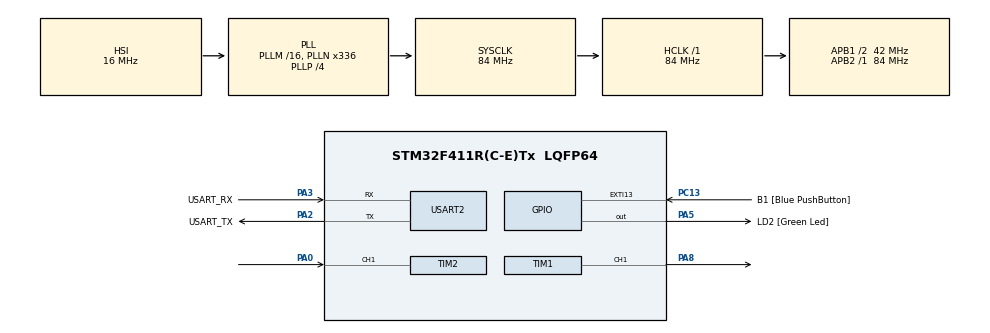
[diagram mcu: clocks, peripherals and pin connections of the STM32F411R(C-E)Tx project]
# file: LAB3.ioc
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Dma.Request0=TIM2_CH1
Dma.TIM2_CH1.0.Direction=DMA_PERIPH_TO_MEMORY
Dma.TIM2_CH1.0.FIFOMode=DMA_FIFOMODE_DISABLE
Dma.TIM2_CH1.0.Instance=DMA1_Stream5
Dma.TIM2_CH1.0.MemDataAlignment=DMA_MDATAALIGN_WORD
Dma.TIM2_CH1.0.MemInc=DMA_MINC_ENABLE
Dma.TIM2_CH1.0.Mode=DMA_CIRCULAR
Dma.TIM2_CH1.0.PeriphDataAlignment=DMA_PDATAALIGN_WORD
Dma.TIM2_CH1.0.PeriphInc=DMA_PINC_DISABLE
Dma.TIM2_CH1.0.Priority=DMA_PRIORITY_LOW
Mcu.Family=STM32F4
Mcu.Name=STM32F411R(C-E)Tx
Mcu.Package=LQFP64
NVIC.DMA1_Stream5_IRQn=true\:0\:0\:false\:false\:true\:false\:true\:true
NVIC.PriorityGroup=NVIC_PRIORITYGROUP_0
PA0-WKUP.Signal=S_TIM2_CH1_ETR
PA13.GPIO_Label=TMS
PA13.Mode=Serial_Wire
PA13.Signal=SYS_JTMS-SWDIO
PA14.GPIO_Label=TCK
PA14.Mode=Serial_Wire
PA14.Signal=SYS_JTCK-SWCLK
PA2.GPIO_Label=USART_TX
PA2.Mode=Asynchronous
PA2.Signal=USART2_TX
PA3.GPIO_Label=USART_RX
PA3.Mode=Asynchronous
PA3.Signal=USART2_RX
PA5.GPIO_Label=LD2 [Green Led]
PA5.Signal=GPIO_Output
PA8.Signal=S_TIM1_CH1
PB3.GPIO_Label=SWO
PB3.Signal=SYS_JTDO-SWO
PC13-ANTI_TAMP.GPIO_Label=B1 [Blue PushButton]
PC13-ANTI_TAMP.GPIO_ModeDefaultEXTI=GPIO_MODE_IT_FALLING
PC13-ANTI_TAMP.Signal=GPXTI13
PC14-OSC32_IN.Mode=LSE-External-Oscillator
PC14-OSC32_IN.Signal=RCC_OSC32_IN
PC15-OSC32_OUT.Mode=LSE-External-Oscillator
PC15-OSC32_OUT.Signal=RCC_OSC32_OUT
PH0\ -\ OSC_IN.Mode=HSE-External-Clock-Source
PH0\ -\ OSC_IN.Signal=RCC_OSC_IN
PH1\ -\ OSC_OUT.Mode=HSE-External-Clock-Source
PH1\ -\ OSC_OUT.Signal=RCC_OSC_OUT
ProjectManager.HeapSize=0x200
ProjectManager.StackSize=0x400
ProjectManager.TargetToolchain=STM32CubeIDE
RCC.48MHZClocksFreq_Value=84000000
RCC.AHBFreq_Value=84000000
RCC.APB1CLKDivider=RCC_HCLK_DIV2
RCC.APB1Freq_Value=42000000
RCC.APB1TimFreq_Value=84000000
RCC.APB2Freq_Value=84000000
RCC.APB2TimFreq_Value=84000000
RCC.CortexFreq_Value=84000000
RCC.FLatency-AdvancedSettings=FLASH_LATENCY_2
RCC.HCLKFreq_Value=84000000
RCC.HSE_VALUE=8000000
RCC.HSI_VALUE=16000000
RCC.PLLN=336
RCC.PLLP=RCC_PLLP_DIV4
RCC.SYSCLKFreq_VALUE=84000000
RCC.SYSCLKSource=RCC_SYSCLKSOURCE_PLLCLK
RCC.VCOOutputFreq_Value=336000000
SH.S_TIM1_CH1.0=TIM1_CH1,PWM Generation1 CH1
SH.S_TIM2_CH1_ETR.0=TIM2_CH1,Input_Capture1_from_TI1
TIM1.Channel-PWM\ Generation1\ CH1=TIM_CHANNEL_1
TIM1.Period=999
TIM1.Prescaler=83
TIM1.Pulse-PWM\ Generation1\ CH1=500
TIM2.Channel-Input_Capture1_from_TI1=TIM_CHANNEL_1
TIM2.Period=4294967295
TIM2.Prescaler=83
USART2.VirtualMode=VM_ASYNC
VP_TIM1_VS_ClockSourceINT.Mode=Internal
VP_TIM2_VS_ClockSourceINT.Mode=Internal
board=NUCLEO-F411RE

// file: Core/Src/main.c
/* USER CODE BEGIN Header */
/**
  ******************************************************************************
  * @file           : main.c
  * @brief          : Main program body
  ******************************************************************************
  * @attention
  *
  * Copyright (c) 2023 STMicroelectronics.
  * All rights reserved.
  *
  * This software is licensed under terms that can be found in the LICENSE file
  * in the root directory of this software component.
  * If no LICENSE file comes with this software, it is provided AS-IS.
  *
  ******************************************************************************
  */
/* USER CODE END Header */
#include "main.h"

/* USER CODE BEGIN Includes */
#define IC_BUFFER_SIZE 20 //Define size of buffer to get the value from encoder for 20 slot
/* USER CODE END Includes */

TIM_HandleTypeDef htim1;
TIM_HandleTypeDef htim2;
DMA_HandleTypeDef hdma_tim2_ch1;

UART_HandleTypeDef huart2;

/* USER CODE BEGIN PV */
uint32_t InputBuffer[IC_BUFFER_SIZE];
float averageInput;
float MotorReadRPM;
uint32_t MotorSetDuty = 50;
uint32_t MotorSetRPM = 1;
uint32_t MotorControlEnable = 0;
uint32_t duty = 500;
uint32_t timeset = 100;

/* USER CODE END PV */

void SystemClock_Config(void);
static void MX_GPIO_Init(void);
static void MX_DMA_Init(void);
static void MX_USART2_UART_Init(void);
static void MX_TIM2_Init(void);
static void MX_TIM1_Init(void);
/* USER CODE BEGIN PFP */
float CAL_Period();
/* USER CODE END PFP */

int main(void)
{

  /* MCU Configuration--------------------------------------------------------*/

  /* Reset of all peripherals, Initializes the Flash interface and the Systick. */
  HAL_Init();

  /* Configure the system clock */
  SystemClock_Config();

  /* Initialize all configured peripherals */
  MX_GPIO_Init();
  MX_DMA_Init();
  MX_USART2_UART_Init();
  MX_TIM2_Init();
  MX_TIM1_Init();
  /* USER CODE BEGIN 2 */
  HAL_TIM_Base_Start(&htim2); //start Timer channel 2
  HAL_TIM_IC_Start_DMA(&htim2, TIM_CHANNEL_1 , InputBuffer , IC_BUFFER_SIZE);

  //PWM
  HAL_TIM_Base_Start(&htim1);
  HAL_TIM_PWM_Start(&htim1, TIM_CHANNEL_1);

  /* USER CODE END 2 */

  /* Infinite loop */
  while (1)
  {

    /* USER CODE BEGIN 3 */
	  static uint32_t timestamp = 0;
	  if(HAL_GetTick() >= timestamp)
	  {
	  timestamp = HAL_GetTick() +500;
	  CAL_Period();
	  //Read RPM Input Capture
	  MotorReadRPM = (1/(averageInput*12*64*0.000001))*60; //RPM
	  //PWM Output Compare
	  __HAL_TIM_SET_COMPARE(&htim1,TIM_CHANNEL_1,duty);
	  }

	  switch(MotorControlEnable)
	  {
	  case 0:
		  duty = (MotorSetDuty*10)-1;
		  break;

	  case 1:
		  if(MotorReadRPM > MotorSetRPM){
			  if(duty>10)
			  {
				  if(HAL_GetTick() >= timeset)
				  {
			  duty-=5;
			  __HAL_TIM_SET_COMPARE(&htim1,TIM_CHANNEL_1,duty);
			  timeset += 100;
				  }
			  }
			  else
			  {
				  duty = 10;
			  }
		  }
		  else if(MotorReadRPM < MotorSetRPM){
			  if(duty < 1000)
			  {
				  if(HAL_GetTick() >= timeset){
			  duty+=5;
			  __HAL_TIM_SET_COMPARE(&htim1,TIM_CHANNEL_1,duty);
			  timeset += 100;
				  }
			  }
			  else
			  {
				  duty = 999;
			  }
		  }
		  break;
	  }
  }
  /* USER CODE END 3 */
}

void SystemClock_Config(void)
{
  RCC_OscInitTypeDef RCC_OscInitStruct = {0};
  RCC_ClkInitTypeDef RCC_ClkInitStruct = {0};

  /** Configure the main internal regulator output voltage
  */
  __HAL_RCC_PWR_CLK_ENABLE();
  __HAL_PWR_VOLTAGESCALING_CONFIG(PWR_REGULATOR_VOLTAGE_SCALE1);

  /** Initializes the RCC Oscillators according to the specified parameters
  * in the RCC_OscInitTypeDef structure.
  */
  RCC_OscInitStruct.OscillatorType = RCC_OSCILLATORTYPE_HSI;
  RCC_OscInitStruct.HSIState = RCC_HSI_ON;
  RCC_OscInitStruct.HSICalibrationValue = RCC_HSICALIBRATION_DEFAULT;
  RCC_OscInitStruct.PLL.PLLState = RCC_PLL_ON;
  RCC_OscInitStruct.PLL.PLLSource = RCC_PLLSOURCE_HSI;
  RCC_OscInitStruct.PLL.PLLM = 16;
  RCC_OscInitStruct.PLL.PLLN = 336;
  RCC_OscInitStruct.PLL.PLLP = RCC_PLLP_DIV4;
  RCC_OscInitStruct.PLL.PLLQ = 4;
  if (HAL_RCC_OscConfig(&RCC_OscInitStruct) != HAL_OK)
  {
    Error_Handler();
  }

  /** Initializes the CPU, AHB and APB buses clocks
  */
  RCC_ClkInitStruct.ClockType = RCC_CLOCKTYPE_HCLK|RCC_CLOCKTYPE_SYSCLK
                              |RCC_CLOCKTYPE_PCLK1|RCC_CLOCKTYPE_PCLK2;
  RCC_ClkInitStruct.SYSCLKSource = RCC_SYSCLKSOURCE_PLLCLK;
  RCC_ClkInitStruct.AHBCLKDivider = RCC_SYSCLK_DIV1;
  RCC_ClkInitStruct.APB1CLKDivider = RCC_HCLK_DIV2;
  RCC_ClkInitStruct.APB2CLKDivider = RCC_HCLK_DIV1;

  if (HAL_RCC_ClockConfig(&RCC_ClkInitStruct, FLASH_LATENCY_2) != HAL_OK)
  {
    Error_Handler();
  }
}

static void MX_TIM1_Init(void)
{

  TIM_ClockConfigTypeDef sClockSourceConfig = {0};
  TIM_MasterConfigTypeDef sMasterConfig = {0};
  TIM_OC_InitTypeDef sConfigOC = {0};
  TIM_BreakDeadTimeConfigTypeDef sBreakDeadTimeConfig = {0};

  htim1.Instance = TIM1;
  htim1.Init.Prescaler = 83;
  htim1.Init.CounterMode = TIM_COUNTERMODE_UP;
  htim1.Init.Period = 999;
  htim1.Init.ClockDivision = TIM_CLOCKDIVISION_DIV1;
  htim1.Init.RepetitionCounter = 0;
  htim1.Init.AutoReloadPreload = TIM_AUTORELOAD_PRELOAD_DISABLE;
  if (HAL_TIM_Base_Init(&htim1) != HAL_OK)
  {
    Error_Handler();
  }
  sClockSourceConfig.ClockSource = TIM_CLOCKSOURCE_INTERNAL;
  if (HAL_TIM_ConfigClockSource(&htim1, &sClockSourceConfig) != HAL_OK)
  {
    Error_Handler();
  }
  if (HAL_TIM_PWM_Init(&htim1) != HAL_OK)
  {
    Error_Handler();
  }
  sMasterConfig.MasterOutputTrigger = TIM_TRGO_RESET;
  sMasterConfig.MasterSlaveMode = TIM_MASTERSLAVEMODE_DISABLE;
  if (HAL_TIMEx_MasterConfigSynchronization(&htim1, &sMasterConfig) != HAL_OK)
  {
    Error_Handler();
  }
  sConfigOC.OCMode = TIM_OCMODE_PWM1;
  sConfigOC.Pulse = 500;
  sConfigOC.OCPolarity = TIM_OCPOLARITY_HIGH;
  sConfigOC.OCNPolarity = TIM_OCNPOLARITY_HIGH;
  sConfigOC.OCFastMode = TIM_OCFAST_DISABLE;
  sConfigOC.OCIdleState = TIM_OCIDLESTATE_RESET;
  sConfigOC.OCNIdleState = TIM_OCNIDLESTATE_RESET;
  if (HAL_TIM_PWM_ConfigChannel(&htim1, &sConfigOC, TIM_CHANNEL_1) != HAL_OK)
  {
    Error_Handler();
  }
  sBreakDeadTimeConfig.OffStateRunMode = TIM_OSSR_DISABLE;
  sBreakDeadTimeConfig.OffStateIDLEMode = TIM_OSSI_DISABLE;
  sBreakDeadTimeConfig.LockLevel = TIM_LOCKLEVEL_OFF;
  sBreakDeadTimeConfig.DeadTime = 0;
  sBreakDeadTimeConfig.BreakState = TIM_BREAK_DISABLE;
  sBreakDeadTimeConfig.BreakPolarity = TIM_BREAKPOLARITY_HIGH;
  sBreakDeadTimeConfig.AutomaticOutput = TIM_AUTOMATICOUTPUT_DISABLE;
  if (HAL_TIMEx_ConfigBreakDeadTime(&htim1, &sBreakDeadTimeConfig) != HAL_OK)
  {
    Error_Handler();
  }
  HAL_TIM_MspPostInit(&htim1);

}

static void MX_TIM2_Init(void)
{

  TIM_ClockConfigTypeDef sClockSourceConfig = {0};
  TIM_MasterConfigTypeDef sMasterConfig = {0};
  TIM_IC_InitTypeDef sConfigIC = {0};

  htim2.Instance = TIM2;
  htim2.Init.Prescaler = 83;
  htim2.Init.CounterMode = TIM_COUNTERMODE_UP;
  htim2.Init.Period = 4294967295;
  htim2.Init.ClockDivision = TIM_CLOCKDIVISION_DIV1;
  htim2.Init.AutoReloadPreload = TIM_AUTORELOAD_PRELOAD_DISABLE;
  if (HAL_TIM_Base_Init(&htim2) != HAL_OK)
  {
    Error_Handler();
  }
  sClockSourceConfig.ClockSource = TIM_CLOCKSOURCE_INTERNAL;
  if (HAL_TIM_ConfigClockSource(&htim2, &sClockSourceConfig) != HAL_OK)
  {
    Error_Handler();
  }
  if (HAL_TIM_IC_Init(&htim2) != HAL_OK)
  {
    Error_Handler();
  }
  sMasterConfig.MasterOutputTrigger = TIM_TRGO_RESET;
  sMasterConfig.MasterSlaveMode = TIM_MASTERSLAVEMODE_DISABLE;
  if (HAL_TIMEx_MasterConfigSynchronization(&htim2, &sMasterConfig) != HAL_OK)
  {
    Error_Handler();
  }
  sConfigIC.ICPolarity = TIM_INPUTCHANNELPOLARITY_RISING;
  sConfigIC.ICSelection = TIM_ICSELECTION_DIRECTTI;
  sConfigIC.ICPrescaler = TIM_ICPSC_DIV1;
  sConfigIC.ICFilter = 0;
  if (HAL_TIM_IC_ConfigChannel(&htim2, &sConfigIC, TIM_CHANNEL_1) != HAL_OK)
  {
    Error_Handler();
  }

}

static void MX_USART2_UART_Init(void)
{

  huart2.Instance = USART2;
  huart2.Init.BaudRate = 115200;
  huart2.Init.WordLength = UART_WORDLENGTH_8B;
  huart2.Init.StopBits = UART_STOPBITS_1;
  huart2.Init.Parity = UART_PARITY_NONE;
  huart2.Init.Mode = UART_MODE_TX_RX;
  huart2.Init.HwFlowCtl = UART_HWCONTROL_NONE;
  huart2.Init.OverSampling = UART_OVERSAMPLING_16;
  if (HAL_UART_Init(&huart2) != HAL_OK)
  {
    Error_Handler();
  }

}

static void MX_DMA_Init(void)
{

  /* DMA controller clock enable */
  __HAL_RCC_DMA1_CLK_ENABLE();

  /* DMA interrupt init */
  /* DMA1_Stream5_IRQn interrupt configuration */
  HAL_NVIC_SetPriority(DMA1_Stream5_IRQn, 0, 0);
  HAL_NVIC_EnableIRQ(DMA1_Stream5_IRQn);

}

static void MX_GPIO_Init(void)
{
  GPIO_InitTypeDef GPIO_InitStruct = {0};

  /* GPIO Ports Clock Enable */
  __HAL_RCC_GPIOC_CLK_ENABLE();
  __HAL_RCC_GPIOH_CLK_ENABLE();
  __HAL_RCC_GPIOA_CLK_ENABLE();
  __HAL_RCC_GPIOB_CLK_ENABLE();

  /*Configure GPIO pin Output Level */
  HAL_GPIO_WritePin(LD2_GPIO_Port, LD2_Pin, GPIO_PIN_RESET);

  /*Configure GPIO pin : B1_Pin */
  GPIO_InitStruct.Pin = B1_Pin;
  GPIO_InitStruct.Mode = GPIO_MODE_IT_FALLING;
  GPIO_InitStruct.Pull = GPIO_NOPULL;
  HAL_GPIO_Init(B1_GPIO_Port, &GPIO_InitStruct);

  /*Configure GPIO pin : LD2_Pin */
  GPIO_InitStruct.Pin = LD2_Pin;
  GPIO_InitStruct.Mode = GPIO_MODE_OUTPUT_PP;
  GPIO_InitStruct.Pull = GPIO_NOPULL;
  GPIO_InitStruct.Speed = GPIO_SPEED_FREQ_LOW;
  HAL_GPIO_Init(LD2_GPIO_Port, &GPIO_InitStruct);

}

/* USER CODE BEGIN 4 */

//Define CAL_period
float CAL_Period()
{
	uint32_t currentDMAPointer = IC_BUFFER_SIZE - __HAL_DMA_GET_COUNTER((htim2.hdma[1]));
	uint32_t lastDMAPointer = (currentDMAPointer-1 + IC_BUFFER_SIZE)%IC_BUFFER_SIZE;
	uint32_t i = (lastDMAPointer + IC_BUFFER_SIZE - 4)%IC_BUFFER_SIZE ;
	int32_t sumdiff = 0;
	while(i != lastDMAPointer)
	{
		uint32_t FirstCapture = InputBuffer[i];
		uint32_t NextCapture = InputBuffer[(i+1)%IC_BUFFER_SIZE];
		sumdiff += NextCapture-FirstCapture;
		i = (i+1)%IC_BUFFER_SIZE;
	}
	averageInput = sumdiff/5.0;
	return averageInput;
}
/* USER CODE END 4 */

void Error_Handler(void)
{
  __disable_irq();
  while (1)
  {
  }
}
